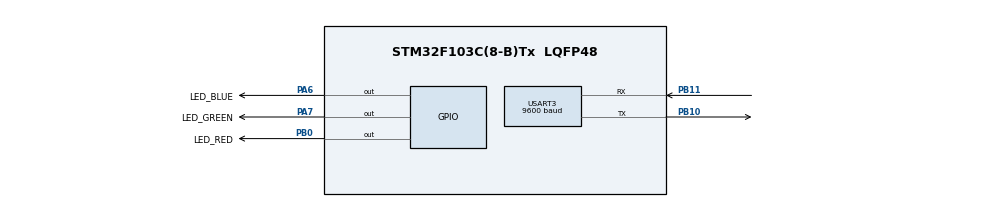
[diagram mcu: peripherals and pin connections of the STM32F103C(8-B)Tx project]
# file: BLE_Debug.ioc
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Dma.Request0=USART3_RX
Dma.Request1=USART3_TX
Dma.USART3_RX.0.Direction=DMA_PERIPH_TO_MEMORY
Dma.USART3_RX.0.Instance=DMA1_Channel3
Dma.USART3_RX.0.MemDataAlignment=DMA_MDATAALIGN_BYTE
Dma.USART3_RX.0.MemInc=DMA_MINC_ENABLE
Dma.USART3_RX.0.Mode=DMA_NORMAL
Dma.USART3_RX.0.PeriphDataAlignment=DMA_PDATAALIGN_BYTE
Dma.USART3_RX.0.PeriphInc=DMA_PINC_DISABLE
Dma.USART3_RX.0.Priority=DMA_PRIORITY_LOW
Dma.USART3_TX.1.Direction=DMA_MEMORY_TO_PERIPH
Dma.USART3_TX.1.Instance=DMA1_Channel2
Dma.USART3_TX.1.MemDataAlignment=DMA_MDATAALIGN_BYTE
Dma.USART3_TX.1.MemInc=DMA_MINC_ENABLE
Dma.USART3_TX.1.Mode=DMA_NORMAL
Dma.USART3_TX.1.PeriphDataAlignment=DMA_PDATAALIGN_BYTE
Dma.USART3_TX.1.PeriphInc=DMA_PINC_DISABLE
Dma.USART3_TX.1.Priority=DMA_PRIORITY_LOW
Mcu.Family=STM32F1
Mcu.Name=STM32F103C(8-B)Tx
Mcu.Package=LQFP48
NVIC.DMA1_Channel2_IRQn=true\:0\:0\:false\:false\:true\:false\:true\:true
NVIC.DMA1_Channel3_IRQn=true\:0\:0\:false\:false\:true\:false\:true\:true
NVIC.PriorityGroup=NVIC_PRIORITYGROUP_4
NVIC.USART3_IRQn=true\:0\:0\:false\:false\:true\:true\:true\:true
PA13.Mode=Serial_Wire
PA13.Signal=SYS_JTMS-SWDIO
PA14.Mode=Serial_Wire
PA14.Signal=SYS_JTCK-SWCLK
PA6.GPIO_Label=LED_BLUE
PA6.Signal=GPIO_Output
PA7.GPIO_Label=LED_GREEN
PA7.Signal=GPIO_Output
PB0.GPIO_Label=LED_RED
PB0.Signal=GPIO_Output
PB10.Mode=Asynchronous
PB10.Signal=USART3_TX
PB11.Mode=Asynchronous
PB11.Signal=USART3_RX
ProjectManager.HeapSize=0x200
ProjectManager.StackSize=0x400
ProjectManager.TargetToolchain=STM32CubeIDE
RCC.APB1Freq_Value=8000000
RCC.APB2Freq_Value=8000000
USART3.BaudRate=9600
USART3.VirtualMode=VM_ASYNC
board=custom

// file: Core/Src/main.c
/* USER CODE BEGIN Header */
/**
  ******************************************************************************
  * @file           : main.c
  * @brief          : Main program body
  ******************************************************************************
  * @attention
  *
  * Copyright (c) 2025 STMicroelectronics.
  * All rights reserved.
  *
  * This software is licensed under terms that can be found in the LICENSE file
  * in the root directory of this software component.
  * If no LICENSE file comes with this software, it is provided AS-IS.
  *
  ******************************************************************************
  */
/* USER CODE END Header */
#include "main.h"

UART_HandleTypeDef huart3;
DMA_HandleTypeDef hdma_usart3_rx;
DMA_HandleTypeDef hdma_usart3_tx;

/* USER CODE BEGIN PV */
uint8_t rxData[50];
/* USER CODE END PV */

void SystemClock_Config(void);
static void MX_GPIO_Init(void);
static void MX_DMA_Init(void);
static void MX_USART3_UART_Init(void);

/* USER CODE BEGIN 0 */
void HAL_UARTEx_RxEventCallback(UART_HandleTypeDef *huart, uint16_t Size)
{
	GPIO_PinState pinState = GPIO_PIN_SET;
	if (huart == &huart3)
	{
		HAL_UART_Transmit_DMA(&huart3, rxData, Size);

		if (rxData[0] == 0xAA)
		{
			if (rxData[1] == Size)
			{
				uint8_t sum = 0U;
				for (int i = 0; i < Size; i++)
				{
					sum += rxData[i];
				}

				// check the sum
				if (sum == rxData[Size - 1])
				{
					for (int i = 2; i < Size; i += 2)
					{
						if (rxData[i + 1] == 0x00)
						{
							pinState = GPIO_PIN_RESET;
						}

						// check the LED number
						if (rxData[i] == 0x01)
						{
							HAL_GPIO_WritePin(LED_RED_GPIO_Port, LED_RED_Pin, pinState);
						}
						else if (rxData[i] == 0x02)
						{
							HAL_GPIO_WritePin(LED_GREEN_GPIO_Port, LED_GREEN_Pin, pinState);
						}
						else if (rxData[i] == 0x03)
						{
							HAL_GPIO_WritePin(LED_BLUE_GPIO_Port, LED_BLUE_Pin, pinState);
						}
						else
						{
							// do nothing
						}
					}
				}
			}
		}
		HAL_UARTEx_ReceiveToIdle_DMA(&huart3, rxData, sizeof(rxData));
		__HAL_DMA_DISABLE_IT(&hdma_usart3_rx, DMA_IT_HT);
	}
}
/* USER CODE END 0 */

int main(void)
{

  /* MCU Configuration--------------------------------------------------------*/

  /* Reset of all peripherals, Initializes the Flash interface and the Systick. */
  HAL_Init();

  /* Configure the system clock */
  SystemClock_Config();

  /* Initialize all configured peripherals */
  MX_GPIO_Init();
  MX_DMA_Init();
  MX_USART3_UART_Init();
  /* USER CODE BEGIN 2 */
  HAL_GPIO_WritePin(LED_BLUE_GPIO_Port, LED_BLUE_Pin, GPIO_PIN_SET);
  HAL_Delay(3000);
  HAL_GPIO_WritePin(LED_BLUE_GPIO_Port, LED_BLUE_Pin, GPIO_PIN_RESET);
  HAL_UARTEx_ReceiveToIdle_DMA(&huart3, rxData, sizeof(rxData));
  __HAL_DMA_DISABLE_IT(&hdma_usart3_rx, DMA_IT_HT);
  /* USER CODE END 2 */

  /* Infinite loop */
  while (1)
  {

  }
}

void SystemClock_Config(void)
{
  RCC_OscInitTypeDef RCC_OscInitStruct = {0};
  RCC_ClkInitTypeDef RCC_ClkInitStruct = {0};

  /** Initializes the RCC Oscillators according to the specified parameters
  * in the RCC_OscInitTypeDef structure.
  */
  RCC_OscInitStruct.OscillatorType = RCC_OSCILLATORTYPE_HSI;
  RCC_OscInitStruct.HSIState = RCC_HSI_ON;
  RCC_OscInitStruct.HSICalibrationValue = RCC_HSICALIBRATION_DEFAULT;
  RCC_OscInitStruct.PLL.PLLState = RCC_PLL_NONE;
  if (HAL_RCC_OscConfig(&RCC_OscInitStruct) != HAL_OK)
  {
    Error_Handler();
  }

  /** Initializes the CPU, AHB and APB buses clocks
  */
  RCC_ClkInitStruct.ClockType = RCC_CLOCKTYPE_HCLK|RCC_CLOCKTYPE_SYSCLK
                              |RCC_CLOCKTYPE_PCLK1|RCC_CLOCKTYPE_PCLK2;
  RCC_ClkInitStruct.SYSCLKSource = RCC_SYSCLKSOURCE_HSI;
  RCC_ClkInitStruct.AHBCLKDivider = RCC_SYSCLK_DIV1;
  RCC_ClkInitStruct.APB1CLKDivider = RCC_HCLK_DIV1;
  RCC_ClkInitStruct.APB2CLKDivider = RCC_HCLK_DIV1;

  if (HAL_RCC_ClockConfig(&RCC_ClkInitStruct, FLASH_LATENCY_0) != HAL_OK)
  {
    Error_Handler();
  }
}

static void MX_USART3_UART_Init(void)
{

  huart3.Instance = USART3;
  huart3.Init.BaudRate = 9600;
  huart3.Init.WordLength = UART_WORDLENGTH_8B;
  huart3.Init.StopBits = UART_STOPBITS_1;
  huart3.Init.Parity = UART_PARITY_NONE;
  huart3.Init.Mode = UART_MODE_TX_RX;
  huart3.Init.HwFlowCtl = UART_HWCONTROL_NONE;
  huart3.Init.OverSampling = UART_OVERSAMPLING_16;
  if (HAL_UART_Init(&huart3) != HAL_OK)
  {
    Error_Handler();
  }

}

static void MX_DMA_Init(void)
{

  /* DMA controller clock enable */
  __HAL_RCC_DMA1_CLK_ENABLE();

  /* DMA interrupt init */
  /* DMA1_Channel2_IRQn interrupt configuration */
  HAL_NVIC_SetPriority(DMA1_Channel2_IRQn, 0, 0);
  HAL_NVIC_EnableIRQ(DMA1_Channel2_IRQn);
  /* DMA1_Channel3_IRQn interrupt configuration */
  HAL_NVIC_SetPriority(DMA1_Channel3_IRQn, 0, 0);
  HAL_NVIC_EnableIRQ(DMA1_Channel3_IRQn);

}

static void MX_GPIO_Init(void)
{
  GPIO_InitTypeDef GPIO_InitStruct = {0};

  /* GPIO Ports Clock Enable */
  __HAL_RCC_GPIOA_CLK_ENABLE();
  __HAL_RCC_GPIOB_CLK_ENABLE();

  /*Configure GPIO pin Output Level */
  HAL_GPIO_WritePin(GPIOA, LED_BLUE_Pin|LED_GREEN_Pin, GPIO_PIN_RESET);

  /*Configure GPIO pin Output Level */
  HAL_GPIO_WritePin(LED_RED_GPIO_Port, LED_RED_Pin, GPIO_PIN_RESET);

  /*Configure GPIO pins : LED_BLUE_Pin LED_GREEN_Pin */
  GPIO_InitStruct.Pin = LED_BLUE_Pin|LED_GREEN_Pin;
  GPIO_InitStruct.Mode = GPIO_MODE_OUTPUT_PP;
  GPIO_InitStruct.Pull = GPIO_NOPULL;
  GPIO_InitStruct.Speed = GPIO_SPEED_FREQ_LOW;
  HAL_GPIO_Init(GPIOA, &GPIO_InitStruct);

  /*Configure GPIO pin : LED_RED_Pin */
  GPIO_InitStruct.Pin = LED_RED_Pin;
  GPIO_InitStruct.Mode = GPIO_MODE_OUTPUT_PP;
  GPIO_InitStruct.Pull = GPIO_NOPULL;
  GPIO_InitStruct.Speed = GPIO_SPEED_FREQ_LOW;
  HAL_GPIO_Init(LED_RED_GPIO_Port, &GPIO_InitStruct);

}

void Error_Handler(void)
{
  __disable_irq();
  while (1)
  {
  }
}
